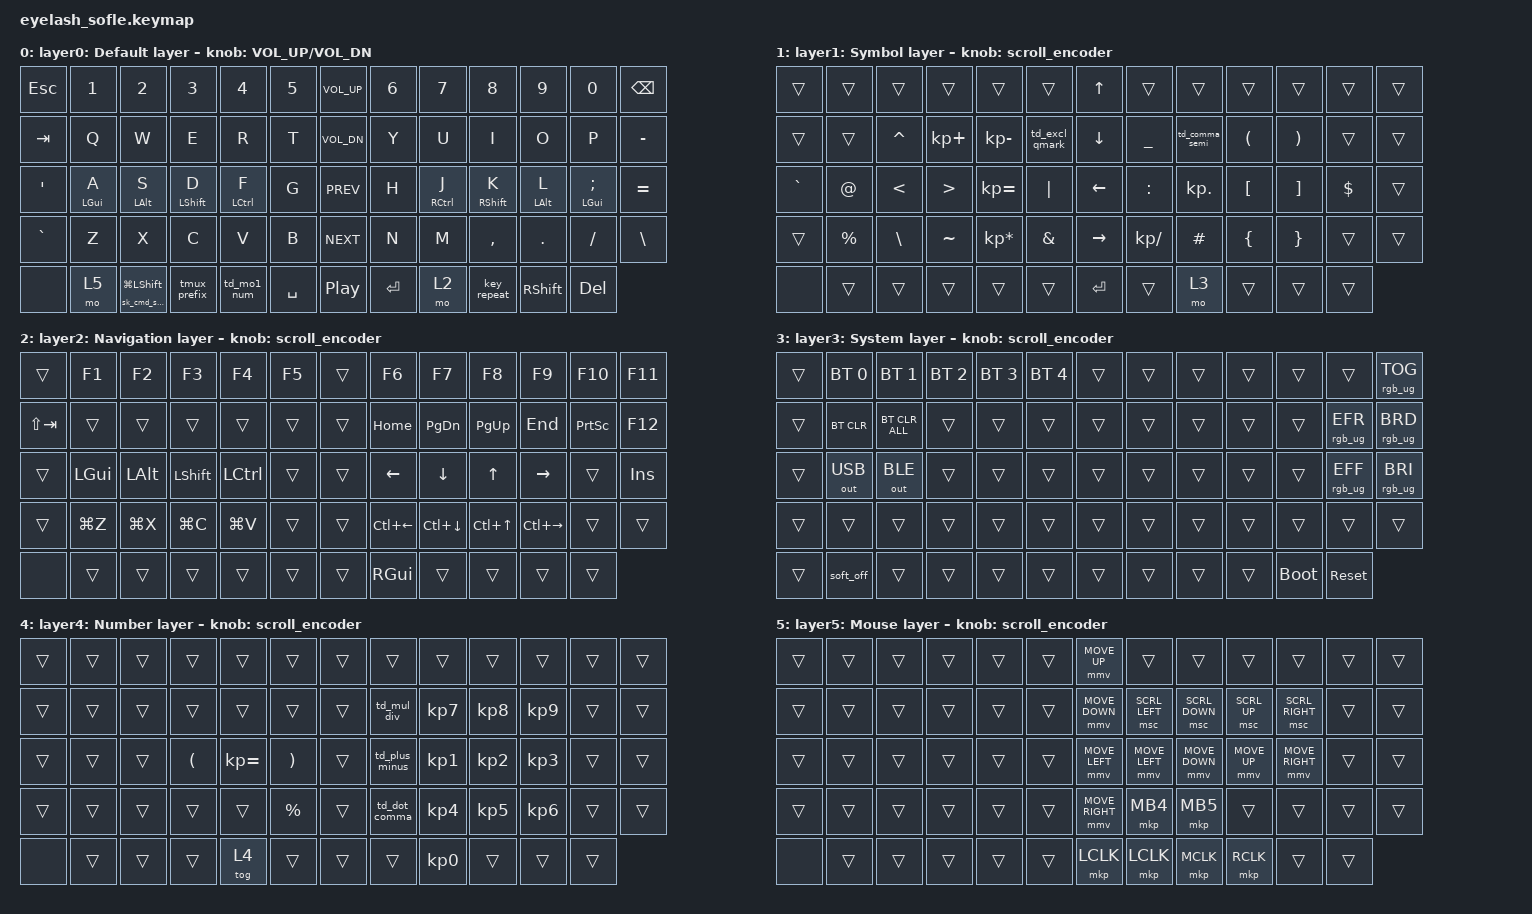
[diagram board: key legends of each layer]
#define ZMK_POINTING_DEFAULT_MOVE_VAL 1200  // 600
#define ZMK_POINTING_DEFAULT_SCRL_VAL 25   // 10

/*
 * Key Position Reference
 * =====================
 * This keymap uses named constants for key positions to improve readability.
 * Format: <side><row><index>
 *   - side: L (left) or R (right)
 *   - row: N (number), T (top), M (middle/home), B (bottom), H (thumb)
 *   - index: 0 (inner, near center) to 5 (outer, near edge)
 *   - center column: C0-C4
 *
 * ┌─────┬─────┬─────┬─────┬─────┬─────┐       ┌─────┐       ┌─────┬─────┬─────┬─────┬─────┬─────┐
 * │ LN5 │ LN4 │ LN3 │ LN2 │ LN1 │ LN0 │       │ C0  │       │ RN0 │ RN1 │ RN2 │ RN3 │ RN4 │ RN5 │
 * │  0  │  1  │  2  │  3  │  4  │  5  │       │  6  │       │  7  │  8  │  9  │ 10  │ 11  │ 12  │
 * ├─────┼─────┼─────┼─────┼─────┼─────┤       ├─────┤       ├─────┼─────┼─────┼─────┼─────┼─────┤
 * │ LT5 │ LT4 │ LT3 │ LT2 │ LT1 │ LT0 │       │ C1  │       │ RT0 │ RT1 │ RT2 │ RT3 │ RT4 │ RT5 │
 * │ 13  │ 14  │ 15  │ 16  │ 17  │ 18  │       │ 19  │       │ 20  │ 21  │ 22  │ 23  │ 24  │ 25  │
 * ├─────┼─────┼─────┼─────┼─────┼─────┤       ├─────┤       ├─────┼─────┼─────┼─────┼─────┼─────┤
 * │ LM5 │ LM4 │ LM3 │ LM2 │ LM1 │ LM0 │       │ C2  │       │ RM0 │ RM1 │ RM2 │ RM3 │ RM4 │ RM5 │
 * │ 26  │ 27  │ 28  │ 29  │ 30  │ 31  │       │ 32  │       │ 33  │ 34  │ 35  │ 36  │ 37  │ 38  │
 * ├─────┼─────┼─────┼─────┼─────┼─────┤       ├─────┤       ├─────┼─────┼─────┼─────┼─────┼─────┤
 * │ LB5 │ LB4 │ LB3 │ LB2 │ LB1 │ LB0 │       │ C3  │       │ RB0 │ RB1 │ RB2 │ RB3 │ RB4 │ RB5 │
 * │ 39  │ 40  │ 41  │ 42  │ 43  │ 44  │       │ 45  │       │ 46  │ 47  │ 48  │ 49  │ 50  │ 51  │
 * └─────┼─────┼─────┼─────┼─────┼─────┼─────┐ ├─────┤ ┌─────┼─────┼─────┼─────┼─────┼─────┴─────┘
 *       │ LH5 │ LH4 │ LH3 │ LH2 │ LH1 │ LH0 │ │ C4  │ │ RH0 │ RH1 │ RH2 │ RH3 │ RH4 │
 *       │ 52  │ 53  │ 54  │ 55  │ 56  │ 57  │ │ 58  │ │ 59  │ 60  │ 61  │ 62  │ 63  │
 *       └─────┴─────┴─────┴─────┴─────┴─────┘ └─────┘ └─────┴─────┴─────┴─────┴─────┘
 */

// Left hand key positions
#define LN0  5
#define LN1  4
#define LN2  3
#define LN3  2
#define LN4  1
#define LN5  0
#define LT0 18
#define LT1 17
#define LT2 16
#define LT3 15
#define LT4 14
#define LT5 13
#define LM0 31
#define LM1 30
#define LM2 29
#define LM3 28
#define LM4 27
#define LM5 26
#define LB0 44
#define LB1 43
#define LB2 42
#define LB3 41
#define LB4 40
#define LB5 39
#define LH0 57
#define LH1 56
#define LH2 55
#define LH3 54
#define LH4 53
#define LH5 52

// Right hand key positions
#define RN0  7
#define RN1  8
#define RN2  9
#define RN3 10
#define RN4 11
#define RN5 12
#define RT0 20
#define RT1 21
#define RT2 22
#define RT3 23
#define RT4 24
#define RT5 25
#define RM0 33
#define RM1 34
#define RM2 35
#define RM3 36
#define RM4 37
#define RM5 38
#define RB0 46
#define RB1 47
#define RB2 48
#define RB3 49
#define RB4 50
#define RB5 51
#define RH0 59
#define RH1 60
#define RH2 61
#define RH3 62
#define RH4 63

// Center column key positions
#define C0  6
#define C1 19
#define C2 32
#define C3 45
#define C4 58

#include <input/processors.dtsi>
#include <zephyr/dt-bindings/input/input-event-codes.h>
#include <behaviors.dtsi>
#include <dt-bindings/zmk/bt.h>
#include <dt-bindings/zmk/keys.h>
#include <dt-bindings/zmk/outputs.h>
#include <dt-bindings/zmk/pointing.h>
#include <dt-bindings/zmk/rgb.h>

&mmv_input_listener { input-processors = <&zip_xy_scaler 2 1>; };

&msc_input_listener { input-processors = <&zip_scroll_scaler 2 1>; };

&msc {
    acceleration-exponent = <1>;      // 0
    time-to-max-speed-ms = <100>;       // 300
    delay-ms = <0>;                   // 0
};

&mmv {
    time-to-max-speed-ms = <500>;
    acceleration-exponent = <1>;
    trigger-period-ms = <16>;
};

&soft_off { hold-time-ms = <2000>; };

/ {
    scroll_encoder: scroll_encoder {
        compatible = "zmk,behavior-sensor-rotate";
        #sensor-binding-cells = <0>;
        bindings = <&msc SCRL_DOWN>, <&msc SCRL_UP>;

        tap-ms = <100>;
    };

    macros {
        tmux_prefix: tmux_prefix {
            label = "TMUX";
            compatible = "zmk,behavior-macro";
            #binding-cells = <0>;
            bindings = <&macro_press &kp LCTRL>, <&macro_tap &kp A>, <&macro_release &kp LCTRL>;
        };
    };

    behaviors {
        key_repeat: key_repeat {
            label = "REPEAT";
            compatible = "zmk,behavior-key-repeat";
            #binding-cells = <0>;
        };

        sk_cmd_shift: sticky_cmd_shift {
            compatible = "zmk,behavior-sticky-key";
            #binding-cells = <1>;
            release-after-ms = <1000>;
            bindings = <&kp>;
        };

        hml: home_row_mod_left {
            compatible = "zmk,behavior-hold-tap";
            #binding-cells = <2>;
            flavor = "balanced";
            tapping-term-ms = <280>;
            quick-tap-ms = <175>;
            require-prior-idle-ms = <150>;
            bindings = <&kp>, <&kp>;
            hold-trigger-key-positions = <RN0 RN1 RN2 RN3 RN4 RN5 RT0 RT1 RT2 RT3 RT4 RT5 RM0 RM1 RM2 RM3 RM4 RM5 RB0 RB1 RB2 RB3 RB4 RB5 RH0 RH1 RH2 RH3 RH4>;
            hold-trigger-on-release;
        };

        hmr: home_row_mod_right {
            compatible = "zmk,behavior-hold-tap";
            #binding-cells = <2>;
            flavor = "balanced";
            tapping-term-ms = <280>;
            quick-tap-ms = <175>;
            require-prior-idle-ms = <150>;
            bindings = <&kp>, <&kp>;
            hold-trigger-key-positions = <LN5 LN4 LN3 LN2 LN1 LN0 LT5 LT4 LT3 LT2 LT1 LT0 LM5 LM4 LM3 LM2 LM1 LM0 LB5 LB4 LB3 LB2 LB1 LB0 LH0 LH1 LH2 LH3 LH4 LH5>;
            hold-trigger-on-release;
        };

        td_comma_semi: tap_dance_comma_semi {
            compatible = "zmk,behavior-tap-dance";
            #binding-cells = <0>;
            tapping-term-ms = <200>;
            bindings = <&kp COMMA>, <&kp SEMI>;
        };

        td_excl_qmark: tap_dance_excl_qmark {
            compatible = "zmk,behavior-tap-dance";
            #binding-cells = <0>;
            tapping-term-ms = <200>;
            bindings = <&kp EXCL>, <&kp QMARK>;
        };

        td_mo1_num: tap_dance_mo1_num {
            compatible = "zmk,behavior-tap-dance";
            #binding-cells = <0>;
            tapping-term-ms = <200>;
            bindings = <&mo 1>, <&tog 4>;
        };

        td_dot_comma: tap_dance_dot_comma {
            compatible = "zmk,behavior-tap-dance";
            #binding-cells = <0>;
            tapping-term-ms = <200>;
            bindings = <&kp KP_DOT>, <&kp COMMA>;
        };

        td_plus_minus: tap_dance_plus_minus {
            compatible = "zmk,behavior-tap-dance";
            #binding-cells = <0>;
            tapping-term-ms = <200>;
            bindings = <&kp KP_PLUS>, <&kp KP_MINUS>;
        };

        td_mul_div: tap_dance_mul_div {
            compatible = "zmk,behavior-tap-dance";
            #binding-cells = <0>;
            tapping-term-ms = <200>;
            bindings = <&kp KP_MULTIPLY>, <&kp KP_DIVIDE>;
        };
    };

    keymap {
        compatible = "zmk,keymap";

        layer0 {
            bindings = <
&kp ESC     &kp N1           &kp N2                    &kp N3               &kp N4         &kp N5       &kp C_VOL_UP     &kp N6     &kp N7            &kp N8              &kp N9           &kp N0            &kp BACKSPACE
&kp TAB     &kp Q            &kp W                     &kp E                &kp R          &kp T        &kp C_VOL_DN     &kp Y      &kp U             &kp I               &kp O            &kp P             &kp MINUS
&kp APOS    &hml LGUI A      &hml LALT S               &hml LSHFT D         &hml LCTRL F   &kp G        &kp C_PREV       &kp H      &hmr RCTRL J      &hmr RSHFT K        &hmr LALT L      &hmr LGUI SEMI    &kp EQUAL
&kp GRAVE   &kp Z            &kp X                     &kp C                &kp V          &kp B        &kp C_NEXT       &kp N      &kp M             &kp COMMA           &kp DOT          &kp FSLH          &kp BSLH
&none       &mo 5            &sk_cmd_shift LG(LSHIFT)  &tmux_prefix         &td_mo1_num    &kp SPACE    &kp C_PP         &kp ENTER  &mo 2             &key_repeat         &kp RIGHT_SHIFT  &kp DELETE
            >;

            sensor-bindings = <&inc_dec_kp C_VOLUME_UP C_VOL_DN>;
            display-name = "layer0: Default layer";
        };

        layer_1 {
            bindings = <
&trans     &trans     &trans      &trans         &trans          &trans          &kp UP_ARROW     &trans        &trans           &trans    &trans    &trans   &trans
&trans     &trans     &kp CARET   &kp KP_PLUS    &kp KP_MINUS    &td_excl_qmark  &kp DOWN_ARROW   &kp UNDER     &td_comma_semi   &kp LPAR  &kp RPAR  &trans   &trans
&kp GRAVE  &kp AT     &kp LT      &kp GT         &kp KP_EQUAL    &kp PIPE        &kp LEFT_ARROW   &kp COLON     &kp KP_DOT       &kp LBKT  &kp RBKT  &kp DLLR &trans
&trans     &kp PRCNT  &kp BSLH    &kp TILDE      &kp KP_MULTIPLY &kp AMPS        &kp RIGHT_ARROW  &kp KP_DIVIDE &kp HASH         &kp LBRC  &kp RBRC  &trans   &trans
&none      &trans     &trans    &trans     &trans     &trans    &kp ENTER        &trans      &mo 3            &trans    &trans    &trans
            >;

            display-name = "layer1: Symbol layer";
            sensor-bindings = <&scroll_encoder>;
        };

        layer_2 {
            bindings = <
&trans     &kp F1        &kp F2          &kp F3        &kp F4        &kp F5          &trans           &kp F6     &kp F7           &kp F8           &kp F9            &kp F10       &kp F11
&kp LS(TAB) &trans        &trans          &trans        &trans        &trans          &trans           &kp HOME   &kp PG_DN        &kp PG_UP        &kp END           &kp PSCRN     &kp F12
&trans     &kp LGUI      &kp LALT        &kp LSHFT     &kp LCTRL     &trans          &trans           &kp LEFT   &kp DOWN         &kp UP           &kp RIGHT         &trans        &kp INS
&trans     &kp LG(Z)     &kp LG(X)       &kp LG(C)     &kp LG(V)     &trans          &trans           &kp LC(LEFT)  &kp LC(DOWN)  &kp LC(UP)       &kp LC(RIGHT)     &trans        &trans
&none      &trans        &trans          &trans        &trans        &trans          &trans           &kp RGUI   &trans           &trans           &trans            &trans
            >;

            display-name = "layer2: Navigation layer";
            sensor-bindings = <&scroll_encoder>;
        };

        layer_3 {
            bindings = <
&trans  &bt BT_SEL 0  &bt BT_SEL 1    &bt BT_SEL 2  &bt BT_SEL 3  &bt BT_SEL 4    &trans  &trans  &trans  &trans  &trans           &trans           &rgb_ug RGB_TOG
&trans  &bt BT_CLR    &bt BT_CLR_ALL  &trans        &trans        &trans          &trans  &trans  &trans  &trans  &trans           &rgb_ug RGB_EFR  &rgb_ug RGB_BRD
&trans  &out OUT_USB  &out OUT_BLE    &trans        &trans        &trans          &trans  &trans  &trans  &trans  &trans           &rgb_ug RGB_EFF  &rgb_ug RGB_BRI
&trans  &trans        &trans          &trans        &trans        &trans          &trans  &trans  &trans  &trans  &trans           &trans           &trans
&trans  &soft_off     &trans          &trans        &trans        &trans          &trans  &trans  &trans  &trans  &bootloader      &sys_reset
            >;

            display-name = "layer3: System layer";
            sensor-bindings = <&scroll_encoder>;
        };

        layer_4 {
            bindings = <
&trans  &trans  &trans  &trans       &trans         &trans    &trans  &trans          &trans     &trans     &trans  &trans  &trans
&trans  &trans  &trans  &trans       &trans         &trans    &trans  &td_mul_div     &kp KP_N7  &kp KP_N8  &kp KP_N9  &trans  &trans
&trans  &trans  &trans  &kp LPAR     &kp KP_EQUAL   &kp RPAR  &trans  &td_plus_minus  &kp KP_N1  &kp KP_N2  &kp KP_N3  &trans  &trans
&trans  &trans  &trans  &trans       &trans         &kp PRCNT &trans  &td_dot_comma   &kp KP_N4  &kp KP_N5  &kp KP_N6  &trans  &trans
&none   &trans  &trans  &trans       &tog 4         &trans    &trans  &trans          &kp KP_N0  &trans     &trans     &trans
            >;
            display-name = "layer4: Number layer";
            sensor-bindings = <&scroll_encoder>;
        };

        layer_5 {
            bindings = <
&trans  &trans  &trans  &trans  &trans  &trans    &mmv MOVE_UP    &trans          &trans          &trans        &trans           &trans  &trans
&trans  &trans  &trans  &trans  &trans  &trans    &mmv MOVE_DOWN  &msc SCRL_LEFT  &msc SCRL_DOWN  &msc SCRL_UP  &msc SCRL_RIGHT  &trans  &trans
&trans  &trans  &trans  &trans  &trans  &trans    &mmv MOVE_LEFT  &mmv MOVE_LEFT  &mmv MOVE_DOWN  &mmv MOVE_UP  &mmv MOVE_RIGHT  &trans  &trans
&trans  &trans  &trans  &trans  &trans  &trans    &mmv MOVE_RIGHT &mkp MB4        &mkp MB5        &trans        &trans           &trans  &trans
&none   &trans  &trans  &trans  &trans  &trans    &mkp LCLK       &mkp LCLK       &mkp MCLK       &mkp RCLK     &trans           &trans
            >;
            display-name = "layer5: Mouse layer";
            sensor-bindings = <&scroll_encoder>;
        };
    };
};
